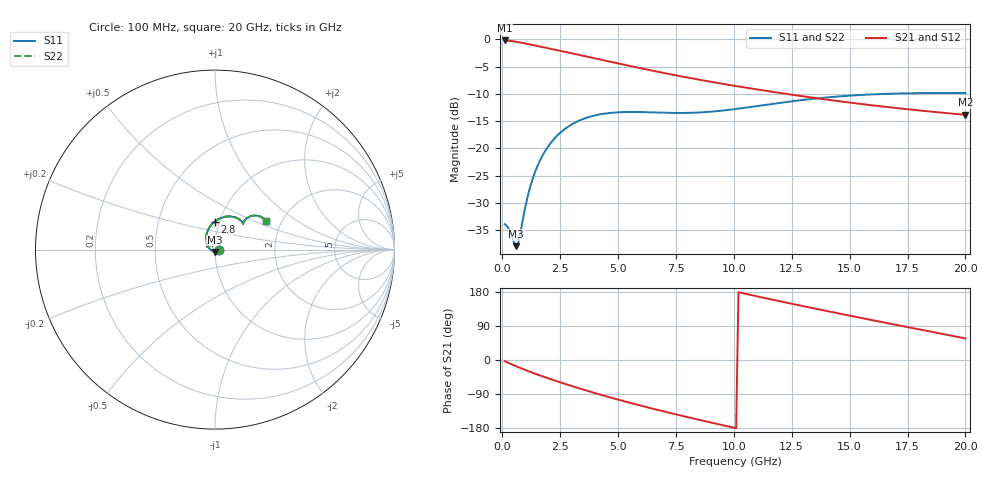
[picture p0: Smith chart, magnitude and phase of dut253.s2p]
! Touchstone file exported from HFSS 2023.1.0
!  File:  D:/Users/fzz/RDL_TSV/temp_RDL_TSV_253_1778760603.aedt
!  Generated:  8:20:24 %x4E0B%x5348  5%x6708 14, 2026
!  Design:  RDL_TSV
!  Project:  temp_RDL_TSV_253_1778760603
!  Setup:  Setup1
!  Solution:  Sweep
! Variables:
!  dtsv = 22.49um
!  hbump = 3um
!  htsv = 67.54um
!  ldown = 615.74um
!  lrdl = 585.58um
!  p = 40
!  p1 = 56.38um
!  rhole = 10um
!  subl = 4189.54um
!  t = 450um
!  tdown = 4.96um
!  trdl = 2.79um
!  viad = 10um
!  wdown = 15.09um
!  wrdl = 25.2um
!  xbump = 18um
# GHz S MA R 50.000000
! Terminal data exported
! Port[1] = TM1_1_T1
! Port[2] = TM1_4_T1
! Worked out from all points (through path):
!   200 points, 100 MHz to 20 GHz, reference 50 ohm
!   highest |S21| = -0.19 dB at 100 MHz (marker M1); lowest = -13.8 dB at 20 GHz (marker M2)
!   group delay of S21, straight-line fit = 39.9 ps
!   lowest |S11| = -37.9 dB at 600 MHz (marker M3), VSWR 1.03, Z = 49.8 - j1.25 ohm
!   |S11| at or under -10 dB: start of sweep to 16.48 GHz
!   |S22| runs from -37.9 to -9.8 dB; largest |S21 - S12| = 9.4e-15
!   S11 on the Smith chart (normalised r, x): 100 MHz: 1.04, -0.01; 2.8 GHz: 0.95, +0.30; 20 GHz: 1.66, +0.58
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0.1  0.02018 -8.7  0.9785 -2.9  0.9785 -2.9  0.02018 -8.7
! Gamma 0 0 0 0
! Port Impedance 50 0 50 0
0.3  0.01797 -31.8  0.9709 -8.5  0.9709 -8.5  0.01799 -31.9
0.6  0.01268 -98.3  0.9516 -16.6  0.9516 -16.6  0.01271 -98.4
0.7  0.01389 -129.6  0.9438 -19.1  0.9438 -19.1  0.01394 -129.8
1  0.02942 173.1  0.9178 -26.6  0.9178 -26.6  0.02951 173.2
1.2  0.04397 154.7  0.8995 -31.3  0.8995 -31.3  0.04409 154.7
1.5  0.06741 136.0  0.8721 -38.0  0.8721 -38.0  0.06759 136.0
1.8  0.09074 122.1  0.8453 -44.5  0.8453 -44.5  0.091 122.2
2.1  0.1128 110.9  0.8195 -50.8  0.8195 -50.8  0.1131 110.9
2.8  0.1561 90.5  0.7621 -64.8  0.7621 -64.8  0.1566 90.6
3.5  0.1865 75.3  0.7078 -78.1  0.7078 -78.1  0.1872 75.4
4.3  0.2067 62.4  0.6495 -92.6  0.6495 -92.6  0.2077 62.5
5.1  0.215 53.1  0.5961 -106.2  0.5961 -106.2  0.2161 53.2
5.9  0.2158 46.9  0.5482 -119.2  0.5482 -119.2  0.217 47.0
6.8  0.2131 43.3  0.5007 -133.1  0.5007 -133.1  0.2144 43.3
8.3  0.2128 42.6  0.435 -155.0  0.435 -155.0  0.214 42.5
10.1  0.2303 44.5  0.3732 -180.0  0.3732 -180.0  0.2314 44.4
11.7  0.2569 44.2  0.3297 158.8  0.3297 158.8  0.2579 44.1
13.4  0.285 41.6  0.2922 137.0  0.2922 137.0  0.2859 41.5
15  0.3049 38.0  0.2635 117.0  0.2635 117.0  0.3058 37.9
16.7  0.3174 34.2  0.2387 96.4  0.2387 96.4  0.3182 34.2
20  0.3229 29.2  0.2035 57.0  0.2035 57.0  0.3238 29.2
